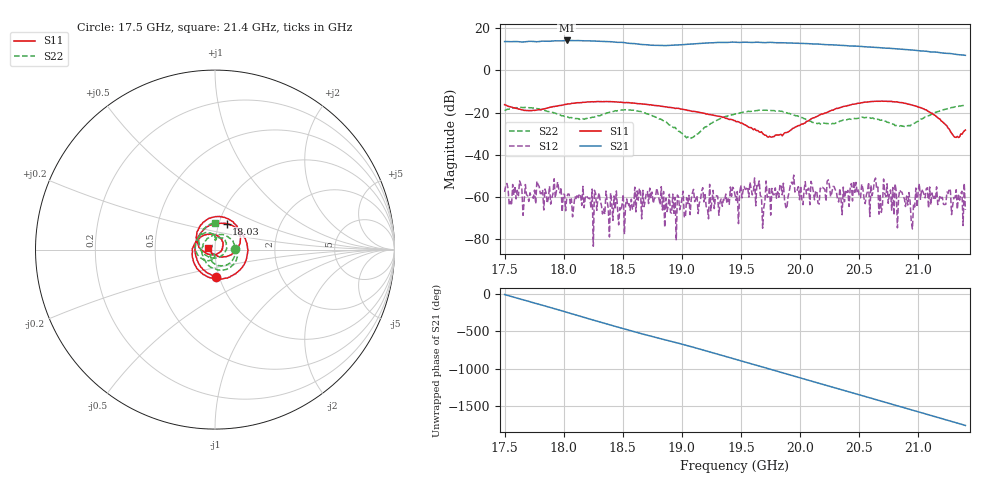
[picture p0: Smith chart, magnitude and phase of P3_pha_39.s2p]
!Created with skrf (http://scikit-rf.org).
# GHz S RI R 50.0
!freq ReS11 ImS11 ReS21 ImS21 ReS12 ImS12 ReS22 ImS22
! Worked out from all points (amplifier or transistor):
!   401 points, 17.5 GHz to 21.4 GHz, reference 50 ohm
!   highest |S21| = 14.3 dB at 18.03 GHz (marker M1)
!   |S21| within 3 dB of that: start of sweep to 20.54 GHz
!   unconditionally stable (mu >= 1): start of sweep to end of sweep
!   at 18.14 GHz: K = 89.51, MAG = 14.3 dB, |S12| = -59.5 dB
!   at 19.45 GHz: K = 92.78, MAG = 13.5 dB, |S12| = -58.9 dB
!   at 21.4 GHz: K = 434.28, MAG = 7.3 dB, |S12| = -66.2 dB
!   S11 on the Smith chart (normalised r, x): 17.5 GHz: 0.97, -0.31; 18.03 GHz: 1.09, +0.32; 21.4 GHz: 0.93, +0.01
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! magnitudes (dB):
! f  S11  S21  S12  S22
! 17.5 GHz  -16.2  13.8  -57.7  -19.1
! 18.03 GHz  -16.0  14.3  -60.0  -21.9
! 18.15 GHz  -15.2  14.1  -64.1  -22.8
! 18.4 GHz  -14.8  13.7  -58.2  -19.8
! 18.81 GHz  -16.7  12.0  -60.9  -23.0
! 18.93 GHz  -17.8  12.0  -67.8  -27.2
! 19.08 GHz  -19.2  12.6  -61.2  -32.0
! 19.45 GHz  -23.8  13.4  -58.9  -20.6
! 19.68 GHz  -29.9  13.2  -74.9  -18.9
! 19.75 GHz  -31.6  13.4  -68.7  -19.0
! 19.89 GHz  -29.5  13.1  -65.6  -20.1
! 19.93 GHz  -28.1  13.1  -53.1  -20.8
! 20.1 GHz  -22.7  12.6  -54.6  -24.6
! 20.57 GHz  -14.9  11.2  -57.5  -22.4
! 20.64 GHz  -14.6  11.0  -51.1  -23.1
! 20.68 GHz  -14.6  10.8  -58.7  -23.6
! 20.76 GHz  -14.7  10.6  -58.8  -24.8
! 20.86 GHz  -15.2  10.1  -57.9  -26.4
! 20.95 GHz  -16.5  9.7  -75.3  -25.4
! 21.02 GHz  -17.6  9.3  -61.2  -23.1
! 21.31 GHz  -31.7  7.7  -60.5  -17.2
! 21.4 GHz  -28.3  7.2  -66.2  -16.5
